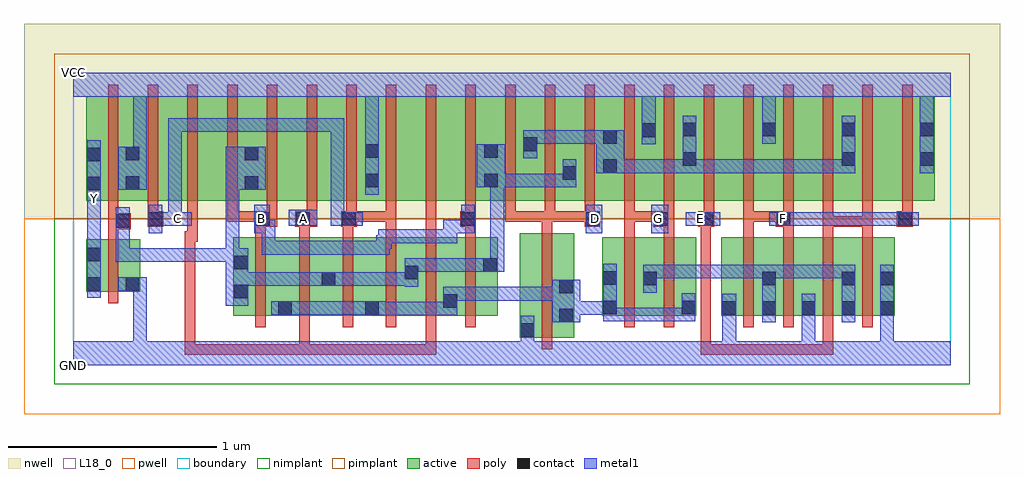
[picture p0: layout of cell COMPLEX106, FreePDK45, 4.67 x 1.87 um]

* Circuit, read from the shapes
.subckt COMPLEX106 A B C D E F G GND VCC Y
M1 GND n1 Y VSUBS nfet w=0.25u l=0.05u
M2 n2 B n1 VSUBS nfet w=0.375u l=0.05u m=2
M3 n1 A n2 VSUBS nfet w=0.375u l=0.05u m=2
M4 n2 C n1 VSUBS nfet w=0.375u l=0.05u m=2
M5 n2 D GND VSUBS nfet w=0.5u l=0.05u
M6 n3 G n2 VSUBS nfet w=0.375u l=0.05u m=2
M7 n3 F GND VSUBS nfet w=0.375u l=0.05u m=2
M8 n3 E GND VSUBS nfet w=0.375u l=0.05u m=2
M9 VCC n1 Y n4 pfet w=0.5u l=0.05u
M10 n5 C VCC n4 pfet w=0.5u l=0.05u
M11 n6 A n5 n4 pfet w=0.5u l=0.05u
M12 n1 B n6 n4 pfet w=0.5u l=0.05u
M13 n7 B n1 n4 pfet w=0.5u l=0.05u
M14 n8 A n7 n4 pfet w=0.5u l=0.05u
M15 VCC C n8 n4 pfet w=0.5u l=0.05u
M16 n9 C VCC n4 pfet w=0.5u l=0.05u
M17 n10 A n9 n4 pfet w=0.5u l=0.05u
M18 n1 B n10 n4 pfet w=0.5u l=0.05u
M19 n11 D n1 n4 pfet w=0.5u l=0.05u m=3
M20 VCC G n11 n4 pfet w=0.5u l=0.05u m=2
M21 n12 E n11 n4 pfet w=0.5u l=0.05u
M22 VCC F n12 n4 pfet w=0.5u l=0.05u
M23 n13 F VCC n4 pfet w=0.5u l=0.05u
M24 n11 E n13 n4 pfet w=0.5u l=0.05u
M25 n14 E n11 n4 pfet w=0.5u l=0.05u
M26 VCC F n14 n4 pfet w=0.5u l=0.05u
.ends

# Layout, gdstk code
import gdstk
lib = gdstk.Library(unit=1e-6, precision=1e-09)
def R(c, l, rs):  # rectangles x0, y0, x1, y1
    for r in rs: c.add(gdstk.rectangle(r[:2], r[2:], *l))
def A(c, l, x, y, w, h, nx, ny, dx, dy):  # array of equal rectangles
    R(c, l, [(x+i*dx, y+j*dy, x+i*dx+w, y+j*dy+h) for i in range(nx) for j in range(ny)])
active = (1, 0)
pwell = (2, 0)
nwell = (3, 0)
nimplant = (4, 0)
pimplant = (5, 0)
poly = (9, 0)
contact = (10, 0)
metal1 = (11, 0)
L18_0 = (18, 0)
boundary = (235, 0)

complex106 = lib.new_cell('COMPLEX106')
A(complex106, active, 3.102, 0.237, 0.265, 0.375, 3, 1, 0.19, 0)
A(complex106, active, 0.477, 0.787, 0.19, 0.5, 3, 1, 0.57, 0)
A(complex106, active, 2.912, 0.787, 0.225, 0.5, 3, 1, 0.38, 0)
R(complex106, active, [(2.137,0.132,2.397,0.632), (2.137,0.132,2.212,0.632), (2.322,0.145,2.397,0.632), (0.767,0.237,0.842,0.612), (0.767,0.237,1.052,0.612), (0.977,0.237,1.26,0.612), (0.977,0.237,1.052,0.497), (1.185,0.237,1.467,0.612), (1.392,0.237,1.657,0.612), (1.392,0.237,1.467,0.592), (1.582,0.237,1.842,0.612), (1.767,0.237,1.842,0.467), (1.767,0.237,2.032,0.612), (2.532,0.237,2.607,0.612), (2.532,0.237,2.797,0.612), (2.722,0.237,2.982,0.612), (2.907,0.237,2.982,0.612), (3.102,0.237,3.177,0.612), (3.292,0.237,3.367,0.592), (3.482,0.237,3.557,0.512), (3.672,0.237,3.932,0.612), (3.672,0.237,3.747,0.467), (3.857,0.237,3.932,0.612), (1.185,0.27,1.26,0.497), (1.582,0.27,1.657,0.512), (1.957,0.27,2.032,0.612), (2.722,0.27,2.797,0.612), (0.062,0.352,0.137,0.602), (0.062,0.352,0.322,0.602), (0.247,0.352,0.322,0.602), (0.062,0.787,0.322,1.287), (0.062,0.787,0.137,1.2), (0.247,0.787,0.477,1.287), (0.667,0.787,0.892,1.287), (0.817,0.787,1.047,1.287), (0.817,0.787,0.892,1.07), (1.237,0.787,1.467,1.287), (1.392,0.787,1.617,1.287), (1.807,0.787,2.037,1.287), (1.962,0.787,2.037,1.2), (1.962,0.787,2.225,1.287), (2.15,0.787,2.225,1.2), (2.15,0.787,2.412,1.287), (2.337,0.787,2.607,1.287), (2.337,0.787,2.412,1.07), (2.532,0.787,2.792,1.287), (2.532,0.787,2.607,1.2), (2.717,0.787,2.987,1.287), (2.717,0.787,2.792,1.255), (2.912,0.787,2.987,1.2), (3.137,0.787,3.367,1.287), (3.517,0.787,3.747,1.287), (3.672,0.787,3.747,1.2), (3.897,0.787,4.122,1.287), (4.047,0.787,4.122,1.287), (0.247,0.807,0.322,1.277), (1.392,0.807,1.467,1.287), (3.292,0.807,3.367,1.287)])
R(complex106, pwell, [(-0.235,-0.235,4.435,0.7)])
R(complex106, nwell, [(-0.235,0.7,4.435,1.635)])
R(complex106, nimplant, [(-0.09,-0.09,4.29,0.7)])
R(complex106, pimplant, [(-0.09,0.7,4.29,1.49)])
A(complex106, poly, 1.497, 0.182, 0.05, 0.485, 3, 1, 0.19, 0)
A(complex106, poly, 3.207, 0.182, 0.05, 0.485, 4, 1, 0.19, 0)
A(complex106, poly, 3.397, 0.617, 0.05, 0.095, 3, 1, 0.19, 0)
A(complex106, poly, 0.737, 0.687, 0.05, 0.095, 15, 1, 0.19, 0)
A(complex106, poly, 0.167, 0.732, 0.05, 0.61, 21, 1, 0.19, 0)
R(complex106, poly, [(0.535,0.05,0.585,0.1), (0.535,0.05,0.585,0.1), (0.535,0.05,0.585,0.1), (0.535,0.05,0.585,0.1), (0.535,0.05,0.585,0.1), (0.535,0.05,0.717,0.1), (0.535,0.05,0.585,0.642), (0.667,0.05,0.717,0.1), (0.667,0.05,0.717,0.1), (0.667,0.05,0.717,0.1), (0.667,0.05,0.92,0.1), (0.87,0.05,0.92,0.1), (0.87,0.05,0.92,0.1), (0.87,0.05,0.92,0.1), (0.87,0.05,1.132,0.1), (1.082,0.05,1.132,0.1), (1.082,0.05,1.132,0.1), (1.082,0.05,1.132,0.1), (1.082,0.05,1.132,0.232), (1.082,0.05,1.357,0.1), (1.307,0.05,1.357,0.1), (1.307,0.05,1.357,0.1), (1.307,0.05,1.357,0.1), (1.307,0.05,1.49,0.1), (1.44,0.05,1.49,0.1), (1.44,0.05,1.49,0.1), (1.44,0.05,1.49,0.1), (1.44,0.05,1.737,0.1), (1.687,0.05,1.737,0.1), (1.687,0.05,1.737,0.1), (1.687,0.05,1.737,0.1), (1.687,0.05,1.737,0.232), (3.002,0.05,3.052,0.1), (3.002,0.05,3.052,0.1), (3.002,0.05,3.052,0.1), (3.002,0.05,3.052,0.1), (3.002,0.05,3.052,0.1), (3.002,0.05,3.052,0.1), (3.002,0.05,3.052,0.1), (3.002,0.05,3.2,0.1), (3.002,0.05,3.052,0.712), (3.15,0.05,3.2,0.1), (3.15,0.05,3.2,0.1), (3.15,0.05,3.2,0.1), (3.15,0.05,3.505,0.1), (3.455,0.05,3.505,0.1), (3.455,0.05,3.637,0.1), (3.587,0.05,3.637,0.1), (3.587,0.05,3.637,0.1), (3.587,0.05,3.637,0.1), (3.587,0.05,3.637,0.232), (2.242,0.077,2.292,0.687), (0.872,0.182,0.922,0.667), (1.082,0.182,1.132,0.667), (1.29,0.182,1.34,0.667), (2.637,0.182,2.687,0.667), (2.827,0.182,2.877,0.667), (0.167,0.297,0.217,0.657), (0.535,0.592,0.585,0.642), (0.535,0.592,0.585,0.642), (0.535,0.592,0.597,0.642), (0.547,0.592,0.597,0.782), (0.167,0.607,0.217,0.702), (0.872,0.617,0.922,0.712), (1.082,0.617,1.132,0.712), (1.29,0.617,1.34,0.712), (1.497,0.617,1.547,0.737), (1.687,0.617,1.737,0.737), (1.877,0.617,1.927,0.712), (2.637,0.617,2.687,0.737), (2.827,0.617,2.877,0.712), (3.207,0.617,3.257,0.737), (2.242,0.637,2.292,0.737), (0.167,0.652,0.275,0.727), (0.357,0.662,0.432,0.737), (0.87,0.662,0.977,0.737), (1.062,0.662,1.167,0.737), (1.282,0.662,1.357,0.737), (1.852,0.662,1.927,0.737), (2.447,0.662,2.522,0.737), (2.777,0.662,2.877,0.737), (2.992,0.662,3.067,0.737), (3.002,0.662,3.052,0.712), (3.002,0.662,3.052,0.712), (3.362,0.662,3.447,0.737), (3.587,0.662,3.637,0.782), (3.587,0.662,3.637,0.712), (3.587,0.662,3.827,0.712), (3.777,0.662,3.827,0.782), (3.777,0.662,3.827,0.712), (3.777,0.662,3.827,0.712), (3.777,0.662,3.827,0.712), (3.942,0.662,4.017,0.737), (0.167,0.677,0.217,0.782), (0.357,0.687,0.407,0.782), (0.737,0.687,0.787,0.737), (0.737,0.687,0.787,0.737), (0.737,0.687,0.787,0.737), (0.737,0.687,0.92,0.737), (1.307,0.687,1.547,0.737), (1.497,0.687,1.547,0.737), (1.497,0.687,1.547,0.737), (1.497,0.687,1.547,0.737), (1.687,0.687,1.737,0.737), (2.067,0.687,2.117,0.737), (2.067,0.687,2.117,0.737), (2.067,0.687,2.117,0.737), (2.067,0.687,2.292,0.737), (2.242,0.687,2.307,0.737), (2.257,0.687,2.497,0.737), (2.447,0.687,2.497,0.737), (2.447,0.687,2.497,0.737), (2.637,0.687,2.687,0.737), (2.637,0.687,2.827,0.737), (2.777,0.687,2.827,0.737), (2.777,0.687,2.827,0.737), (3.207,0.687,3.257,0.737), (3.207,0.687,3.257,0.737), (3.207,0.687,3.257,0.737), (3.207,0.687,3.412,0.737), (3.967,0.687,4.017,0.782)])
A(complex106, contact, 3.107, 0.242, 0.065, 0.065, 4, 1, 0.19, 0)
A(complex106, contact, 2.917, 1.095, 0.065, 0.065, 3, 1, 0.38, 0)
R(complex106, contact, [(2.142,0.137,2.207,0.202), (2.327,0.205,2.392,0.27), (0.982,0.242,1.047,0.307), (1.397,0.242,1.462,0.307), (3.862,0.242,3.927,0.307), (2.537,0.245,2.602,0.31), (2.912,0.245,2.977,0.31), (1.772,0.275,1.837,0.34), (0.772,0.32,0.837,0.385), (2.327,0.345,2.392,0.41), (0.067,0.357,0.132,0.422), (0.252,0.357,0.317,0.422), (1.19,0.38,1.255,0.445), (2.727,0.382,2.792,0.447), (3.297,0.382,3.362,0.447), (3.677,0.382,3.742,0.447), (3.862,0.382,3.927,0.447), (2.537,0.385,2.602,0.45), (1.587,0.412,1.652,0.477), (1.962,0.447,2.027,0.512), (0.772,0.46,0.837,0.525), (0.067,0.497,0.132,0.562), (0.205,0.657,0.27,0.722), (0.362,0.667,0.427,0.732), (0.875,0.667,0.94,0.732), (1.067,0.667,1.132,0.732), (1.287,0.667,1.352,0.732), (1.857,0.667,1.922,0.732), (2.452,0.667,2.517,0.732), (2.782,0.667,2.847,0.732), (2.997,0.667,3.062,0.732), (3.367,0.667,3.432,0.732), (3.947,0.667,4.012,0.732), (0.067,0.837,0.132,0.902), (0.252,0.84,0.317,0.905), (0.822,0.84,0.887,0.905), (1.397,0.852,1.462,0.917), (1.967,0.852,2.032,0.917), (2.342,0.887,2.407,0.952), (2.537,0.92,2.602,0.985), (2.917,0.955,2.982,1.02), (3.677,0.955,3.742,1.02), (4.052,0.955,4.117,1.02), (0.067,0.977,0.132,1.042), (0.252,0.98,0.317,1.045), (0.822,0.98,0.887,1.045), (1.397,0.992,1.462,1.057), (1.967,0.992,2.032,1.057), (2.155,1.025,2.22,1.09), (2.537,1.06,2.602,1.125), (2.722,1.092,2.787,1.157), (4.052,1.095,4.117,1.16)])
R(complex106, metal1, [(0,0,4.2,0.115), (0.287,0.05,0.352,0.115), (0.287,0.05,0.352,0.115), (0.287,0.05,0.352,0.115), (0.287,0.05,0.352,0.115), (0.287,0.05,0.352,0.115), (0.287,0.05,0.352,0.115), (0.287,0.05,0.352,0.422), (2.142,0.05,2.207,0.115), (2.142,0.05,2.207,0.115), (2.142,0.05,2.207,0.167), (3.107,0.05,3.172,0.115), (3.107,0.05,3.172,0.115), (3.107,0.05,3.172,0.115), (3.107,0.05,3.172,0.115), (3.107,0.05,3.172,0.272), (3.487,0.05,3.552,0.272), (3.862,0.05,3.927,0.115), (3.862,0.05,3.927,0.115), (3.862,0.05,3.927,0.115), (3.862,0.05,3.927,0.115), (3.862,0.05,3.927,0.272), (2.142,0.102,2.207,0.237), (2.292,0.205,2.427,0.41), (3.107,0.207,3.172,0.342), (3.297,0.207,3.362,0.482), (3.487,0.207,3.552,0.272), (3.487,0.207,3.552,0.272), (3.487,0.207,3.552,0.272), (3.487,0.207,3.552,0.272), (3.487,0.207,3.552,0.342), (3.677,0.207,3.742,0.482), (3.862,0.207,3.927,0.482), (2.537,0.21,2.602,0.485), (2.537,0.21,2.637,0.275), (2.572,0.21,2.637,0.275), (2.572,0.21,2.84,0.275), (2.775,0.21,2.84,0.275), (2.775,0.21,2.84,0.275), (2.775,0.21,2.84,0.275), (2.775,0.21,2.977,0.275), (2.912,0.21,2.977,0.345), (1.432,0.24,1.662,0.305), (1.432,0.24,1.497,0.307), (1.597,0.24,1.662,0.305), (1.597,0.24,1.662,0.305), (1.597,0.24,1.662,0.305), (1.597,0.24,1.837,0.305), (1.772,0.24,1.837,0.375), (0.947,0.242,1.082,0.307), (1.017,0.242,1.082,0.307), (1.017,0.242,1.082,0.307), (1.017,0.242,1.29,0.307), (1.225,0.242,1.29,0.307), (1.225,0.242,1.36,0.307), (1.295,0.242,1.36,0.307), (1.295,0.242,1.427,0.307), (1.362,0.242,1.497,0.307), (1.432,0.242,1.497,0.307), (2.362,0.242,2.5,0.307), (2.435,0.242,2.5,0.307), (2.435,0.242,2.602,0.307), (0.73,0.285,0.837,0.56), (0.765,0.285,0.83,0.35), (0.765,0.285,0.83,0.445), (1.772,0.31,1.975,0.375), (1.91,0.31,1.975,0.375), (1.91,0.31,1.975,0.375), (1.91,0.31,1.975,0.375), (1.91,0.31,2.205,0.375), (2.14,0.31,2.205,0.375), (2.14,0.31,2.205,0.375), (2.14,0.31,2.205,0.375), (2.14,0.31,2.357,0.375), (2.292,0.31,2.357,0.375), (2.292,0.31,2.357,0.375), (0.067,0.322,0.132,0.597), (2.727,0.347,2.792,0.482), (0.217,0.357,0.352,0.422), (1.587,0.377,1.652,0.512), (0.765,0.38,0.945,0.445), (0.88,0.38,0.945,0.445), (0.88,0.38,0.975,0.445), (0.91,0.38,0.975,0.445), (0.91,0.38,1.167,0.445), (1.102,0.38,1.167,0.445), (1.102,0.38,1.22,0.445), (1.155,0.38,1.29,0.445), (1.225,0.38,1.305,0.445), (1.24,0.38,1.305,0.445), (1.24,0.38,1.515,0.445), (1.45,0.38,1.515,0.445), (1.45,0.38,1.515,0.445), (1.45,0.38,1.515,0.445), (1.45,0.38,1.652,0.445), (2.727,0.417,2.792,0.482), (2.727,0.417,2.792,0.482), (2.727,0.417,3.035,0.482), (2.97,0.417,3.035,0.482), (2.97,0.417,3.035,0.482), (2.97,0.417,3.035,0.482), (2.97,0.417,3.225,0.482), (3.16,0.417,3.225,0.482), (3.16,0.417,3.225,0.482), (3.16,0.417,3.225,0.482), (3.16,0.417,3.362,0.482), (3.297,0.417,3.362,0.482), (3.297,0.417,3.362,0.482), (3.297,0.417,3.605,0.482), (3.54,0.417,3.605,0.482), (3.54,0.417,3.605,0.482), (3.54,0.417,3.605,0.482), (3.54,0.417,3.742,0.482), (1.587,0.447,1.7,0.512), (1.635,0.447,1.7,0.512), (1.635,0.447,1.8,0.512), (1.735,0.447,1.8,0.512), (1.735,0.447,1.992,0.512), (1.927,0.447,1.992,0.512), (1.927,0.447,1.992,0.512), (1.927,0.447,2.062,0.512), (1.997,0.447,2.062,0.512), (1.997,0.447,2.062,0.512), (1.997,0.447,2.062,0.512), (1.997,0.447,2.062,0.512), (1.997,0.447,2.062,0.917), (0.205,0.495,0.27,0.56), (0.205,0.495,0.52,0.56), (0.205,0.495,0.27,0.687), (0.455,0.495,0.52,0.56), (0.455,0.495,0.52,0.56), (0.455,0.495,0.52,0.56), (0.455,0.495,0.657,0.56), (0.592,0.495,0.657,0.56), (0.592,0.495,0.657,0.56), (0.592,0.495,0.657,0.56), (0.592,0.495,0.795,0.56), (0.73,0.495,0.795,0.56), (0.73,0.495,0.795,0.56), (0.73,0.495,0.795,0.56), (0.73,0.495,0.795,0.56), (0.73,0.495,0.795,0.905), (0.902,0.53,0.967,0.595), (0.902,0.53,1.082,0.595), (0.902,0.53,0.967,0.697), (1.017,0.53,1.082,0.595), (1.017,0.53,1.275,0.595), (1.21,0.53,1.275,0.595), (1.21,0.53,1.305,0.595), (1.24,0.53,1.305,0.595), (1.24,0.53,1.515,0.595), (1.45,0.53,1.515,0.622), (0.067,0.532,0.132,0.797), (1.45,0.557,1.525,0.622), (1.46,0.557,1.525,0.65), (1.46,0.585,1.662,0.65), (1.597,0.585,1.662,0.65), (1.597,0.585,1.662,0.65), (1.597,0.585,1.662,0.65), (1.597,0.585,1.837,0.65), (1.772,0.585,1.837,0.65), (1.772,0.585,1.837,0.697), (0.205,0.622,0.27,0.687), (0.205,0.622,0.27,0.687), (0.205,0.622,0.27,0.757), (0.362,0.632,0.427,0.767), (0.867,0.632,0.94,0.767), (0.875,0.632,0.967,0.697), (0.902,0.632,0.967,0.697), (1.772,0.632,1.837,0.697), (1.772,0.632,1.922,0.697), (1.857,0.632,1.922,0.767), (2.452,0.632,2.532,0.767), (2.767,0.632,2.847,0.767), (0.362,0.667,0.497,0.732), (0.432,0.667,0.567,0.732), (0.455,0.667,0.52,0.732), (0.455,0.667,0.52,0.732), (0.455,0.667,0.52,1.182), (1.032,0.667,1.167,0.745), (1.232,0.667,1.297,0.732), (1.232,0.667,1.317,0.732), (1.232,0.667,1.297,1.182), (1.252,0.667,1.387,0.732), (2.932,0.667,3.097,0.732), (3.332,0.667,3.467,0.732), (3.402,0.667,3.605,0.732), (3.54,0.667,3.605,0.732), (3.54,0.667,3.605,0.732), (3.54,0.667,3.605,0.732), (3.54,0.667,3.742,0.732), (3.677,0.667,3.742,0.732), (3.677,0.667,3.742,0.732), (3.677,0.667,3.742,0.732), (3.677,0.667,3.977,0.732), (3.912,0.667,3.977,0.732), (3.912,0.667,3.977,0.732), (3.912,0.667,4.047,0.732), (0.067,0.732,0.132,0.867), (0.067,0.802,0.132,1.077), (0.067,0.802,0.132,0.867), (1.397,0.817,1.462,1.092), (0.217,0.84,0.352,1.045), (0.73,0.84,0.922,1.045), (1.932,0.852,2.067,1.057), (2.002,0.852,2.22,0.917), (2.155,0.852,2.22,0.917), (2.155,0.852,2.22,0.917), (2.155,0.852,2.22,0.917), (2.155,0.852,2.362,0.917), (2.297,0.852,2.362,0.917), (2.297,0.852,2.407,0.917), (2.342,0.852,2.407,0.987), (2.502,0.92,2.637,1.125), (2.572,0.92,2.637,0.985), (2.572,0.92,2.637,0.985), (2.572,0.92,2.84,0.985), (2.775,0.92,2.84,0.985), (2.775,0.92,2.84,0.985), (2.775,0.92,2.84,0.985), (2.775,0.92,2.982,0.985), (2.917,0.92,2.982,1.195), (2.917,0.92,2.982,0.985), (2.917,0.92,2.982,0.985), (2.917,0.92,3.225,0.985), (3.16,0.92,3.225,0.985), (3.16,0.92,3.225,0.985), (3.16,0.92,3.225,0.985), (3.16,0.92,3.415,0.985), (3.35,0.92,3.415,0.985), (3.35,0.92,3.415,0.985), (3.35,0.92,3.415,0.985), (3.35,0.92,3.605,0.985), (3.54,0.92,3.605,0.985), (3.54,0.92,3.605,0.985), (3.54,0.92,3.605,0.985), (3.54,0.92,3.742,0.985), (3.677,0.92,3.742,1.195), (4.052,0.92,4.117,1.195), (0.287,0.98,0.352,1.35), (2.155,0.99,2.22,1.125), (1.397,1.027,1.462,1.35), (2.722,1.057,2.787,1.192), (2.155,1.06,2.362,1.125), (2.297,1.06,2.362,1.125), (2.297,1.06,2.362,1.125), (2.297,1.06,2.362,1.125), (2.297,1.06,2.5,1.125), (2.435,1.06,2.5,1.125), (2.435,1.06,2.567,1.125), (3.297,1.06,3.362,1.195), (0.455,1.117,0.52,1.182), (0.455,1.117,0.657,1.182), (0.592,1.117,0.657,1.182), (0.592,1.117,0.657,1.182), (0.592,1.117,0.657,1.182), (0.592,1.117,0.795,1.182), (0.73,1.117,0.795,1.182), (0.73,1.117,0.795,1.182), (0.73,1.117,0.795,1.182), (0.73,1.117,0.945,1.182), (0.88,1.117,0.945,1.182), (0.88,1.117,1.082,1.182), (1.017,1.117,1.082,1.182), (1.017,1.117,1.082,1.182), (1.017,1.117,1.082,1.182), (1.017,1.117,1.082,1.182), (1.017,1.117,1.082,1.182), (1.017,1.117,1.297,1.182), (1.232,1.117,1.297,1.182), (2.722,1.127,2.787,1.35), (3.297,1.13,3.362,1.35), (4.052,1.13,4.117,1.35), (0,1.285,4.2,1.4)])
R(complex106, L18_0, [(0,0,4.2,0.115), (0.287,0.05,0.352,0.115), (0.287,0.05,0.352,0.115), (0.287,0.05,0.352,0.115), (0.287,0.05,0.352,0.115), (0.287,0.05,0.352,0.115), (0.287,0.05,0.352,0.115), (0.287,0.05,0.352,0.422), (2.142,0.05,2.207,0.115), (2.142,0.05,2.207,0.115), (2.142,0.05,2.207,0.167), (3.107,0.05,3.172,0.115), (3.107,0.05,3.172,0.115), (3.107,0.05,3.172,0.115), (3.107,0.05,3.172,0.115), (3.107,0.05,3.172,0.272), (3.487,0.05,3.552,0.272), (3.862,0.05,3.927,0.115), (3.862,0.05,3.927,0.115), (3.862,0.05,3.927,0.115), (3.862,0.05,3.927,0.115), (3.862,0.05,3.927,0.272), (2.142,0.102,2.207,0.237), (3.107,0.207,3.172,0.342), (3.487,0.207,3.552,0.342), (3.487,0.207,3.552,0.272), (3.487,0.207,3.552,0.272), (3.487,0.207,3.552,0.272), (3.487,0.207,3.552,0.272), (3.862,0.207,3.927,0.482), (0.067,0.322,0.132,0.597), (0.217,0.357,0.352,0.422), (0.902,0.53,0.967,0.595), (0.902,0.53,0.967,0.697), (0.902,0.53,1.082,0.595), (1.017,0.53,1.082,0.595), (1.017,0.53,1.275,0.595), (1.21,0.53,1.275,0.595), (1.21,0.53,1.305,0.595), (1.24,0.53,1.305,0.595), (1.24,0.53,1.515,0.595), (1.45,0.53,1.515,0.622), (0.067,0.532,0.132,0.797), (1.45,0.557,1.525,0.622), (1.46,0.557,1.525,0.65), (1.46,0.585,1.662,0.65), (1.597,0.585,1.662,0.65), (1.597,0.585,1.662,0.65), (1.597,0.585,1.662,0.65), (1.597,0.585,1.837,0.65), (1.772,0.585,1.837,0.65), (1.772,0.585,1.837,0.697), (0.362,0.632,0.427,0.767), (0.867,0.632,0.94,0.767), (0.875,0.632,0.967,0.697), (0.902,0.632,0.967,0.697), (1.772,0.632,1.837,0.697), (1.772,0.632,1.922,0.697), (1.857,0.632,1.922,0.767), (2.452,0.632,2.532,0.767), (2.767,0.632,2.847,0.767), (0.362,0.667,0.497,0.732), (0.432,0.667,0.567,0.732), (0.455,0.667,0.52,0.732), (0.455,0.667,0.52,0.732), (0.455,0.667,0.52,1.182), (0.467,0.667,0.532,0.732), (0.867,0.667,0.932,0.732), (1.032,0.667,1.167,0.745), (1.067,0.667,1.132,0.732), (1.232,0.667,1.297,0.732), (1.232,0.667,1.297,1.182), (1.232,0.667,1.317,0.732), (1.252,0.667,1.387,0.732), (2.467,0.667,2.532,0.732), (2.767,0.667,2.832,0.732), (2.932,0.667,3.097,0.732), (2.967,0.667,3.032,0.732), (3.332,0.667,3.467,0.732), (3.367,0.667,3.432,0.732), (3.402,0.667,3.605,0.732), (3.54,0.667,3.605,0.732), (3.54,0.667,3.605,0.732), (3.54,0.667,3.605,0.732), (3.54,0.667,3.742,0.732), (3.677,0.667,3.742,0.732), (3.677,0.667,3.742,0.732), (3.677,0.667,3.742,0.732), (3.677,0.667,3.977,0.732), (3.912,0.667,3.977,0.732), (3.912,0.667,3.977,0.732), (3.912,0.667,4.047,0.732), (0.067,0.732,0.132,0.867), (0.067,0.767,0.132,0.832), (0.067,0.802,0.132,1.077), (0.067,0.802,0.132,0.867), (1.397,0.817,1.462,1.092), (0.217,0.84,0.352,1.045), (4.052,0.92,4.117,1.195), (0.287,0.98,0.352,1.35), (1.397,1.027,1.462,1.35), (2.722,1.057,2.787,1.192), (3.297,1.06,3.362,1.195), (0.455,1.117,0.52,1.182), (0.455,1.117,0.657,1.182), (0.592,1.117,0.657,1.182), (0.592,1.117,0.657,1.182), (0.592,1.117,0.657,1.182), (0.592,1.117,0.795,1.182), (0.73,1.117,0.795,1.182), (0.73,1.117,0.795,1.182), (0.73,1.117,0.795,1.182), (0.73,1.117,0.945,1.182), (0.88,1.117,0.945,1.182), (0.88,1.117,1.082,1.182), (1.017,1.117,1.082,1.182), (1.017,1.117,1.082,1.182), (1.017,1.117,1.082,1.182), (1.017,1.117,1.082,1.182), (1.017,1.117,1.082,1.182), (1.017,1.117,1.297,1.182), (1.232,1.117,1.297,1.182), (2.722,1.127,2.787,1.35), (3.297,1.13,3.362,1.35), (4.052,1.13,4.117,1.35), (0,1.285,4.2,1.4)])
R(complex106, boundary, [(0,0,4.2,1.4)])
complex106.add(gdstk.Label('A', (1.1,0.7), layer=11, texttype=0))
complex106.add(gdstk.Label('B', (0.9,0.7), layer=11, texttype=0))
complex106.add(gdstk.Label('C', (0.5,0.7), layer=11, texttype=0))
complex106.add(gdstk.Label('D', (2.5,0.7), layer=11, texttype=0))
complex106.add(gdstk.Label('E', (3,0.7), layer=11, texttype=0))
complex106.add(gdstk.Label('F', (3.4,0.7), layer=11, texttype=0))
complex106.add(gdstk.Label('G', (2.8,0.7), layer=11, texttype=0))
complex106.add(gdstk.Label('Y', (0.1,0.8), layer=11, texttype=0))
complex106.add(gdstk.Label('VCC', (0,1.4), layer=11, texttype=0))
complex106.add(gdstk.Label('GND', (0,0), layer=11, texttype=0))

lib.write_gds('COMPLEX106.gds')
